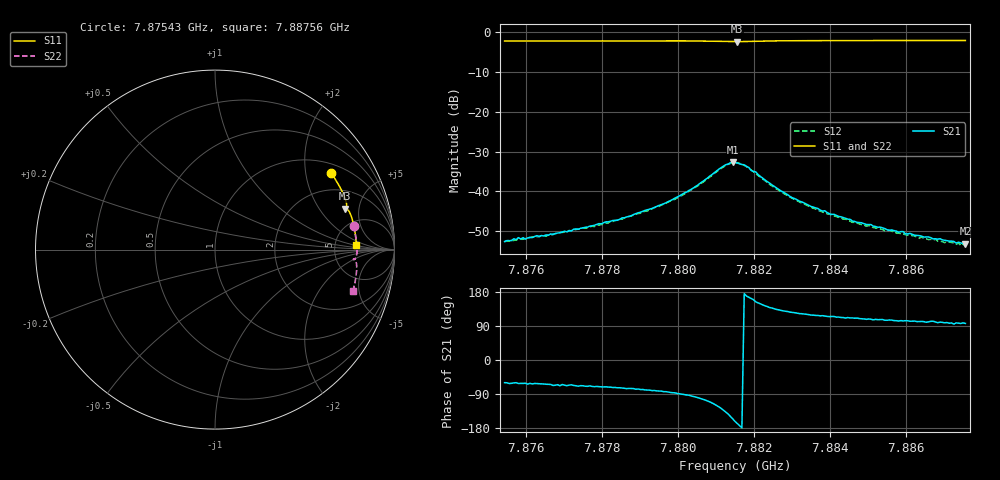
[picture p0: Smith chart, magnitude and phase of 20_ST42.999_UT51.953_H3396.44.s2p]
#  HZ  S  DB  R  50.00
! Rohde & Schwarz Vector Network Analyzer
! Rohde-Schwarz,ZNB20-2Port,1311601062101988,3.16
! Created: UTC 1/12/2023, 6:30:34 PM
! freq[Hz]  db:S11  ang:S11  db:S21  ang:S21  db:S12  ang:S12  db:S22  ang:S22
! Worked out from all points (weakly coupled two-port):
!   201 points, 7.87543 GHz to 7.88756 GHz, reference 50 ohm
!   highest |S21| = -32.66 dB at 7.88144 GHz (marker M1); lowest = -53.2 dB at 7.88756 GHz (marker M2)
!   lowest |S11| = -2.4 dB at 7.88156 GHz (marker M3), VSWR 7.37, Z = 166 + j179 ohm
!   |S11| at or under -10 dB: nowhere
!   |S22| runs from -2.2 to -1.9 dB; largest |S21 - S12| = 0.0015
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7.875431e9  -2.22 33.4  -52.61 -59.8  -52.70 -63.3  -2.12 9.5
7.875795e9  -2.21 32.4  -51.65 -62.0  -52.01 -65.5  -2.11 8.7
7.875977e9  -2.21 31.9  -52.03 -61.4  -51.86 -65.1  -2.10 8.2
7.876522e9  -2.20 30.4  -50.95 -64.0  -51.30 -67.5  -2.09 7.0
7.877493e9  -2.19 27.8  -49.20 -68.0  -49.17 -72.0  -2.07 4.7
7.878403e9  -2.18 25.2  -47.27 -73.3  -47.26 -76.5  -2.05 2.6
7.879494e9  -2.17 22.2  -43.55 -82.0  -43.79 -85.3  -2.04 0.0
7.880222e9  -2.18 20.2  -40.21 -92.3  -40.34 -95.4  -2.05 -1.8
7.881132e9  -2.31 17.6  -34.04 -127.8  -34.24 -131.1  -2.17 -4.0
7.881435e9  -2.37 17.4  -32.66 -155.2  -32.86 -157.8  -2.24 -4.1
7.881496e9  -2.37 17.4  -32.72 -162.1  -32.83 -163.8  -2.24 -4.1
7.881557e9  -2.37 17.4  -32.90 -167.6  -32.81 -170.2  -2.24 -4.0
7.882042e9  -2.25 16.8  -35.11 153.4  -35.54 151.2  -2.12 -4.3
7.882709e9  -2.16 14.9  -39.94 130.8  -40.15 127.7  -2.01 -5.9
7.883558e9  -2.12 12.5  -43.98 118.4  -44.27 115.6  -1.97 -8.0
7.884589e9  -2.10 9.7  -47.49 111.0  -47.81 107.3  -1.95 -10.3
7.88556e9  -2.09 7.1  -49.79 105.6  -49.80 102.3  -1.93 -12.4
7.886348e9  -2.08 5.0  -51.14 101.4  -51.75 99.8  -1.92 -14.2
7.887379e9  -2.08 2.3  -52.79 97.2  -53.03 95.3  -1.92 -16.4
7.88744e9  -2.08 2.2  -53.00 96.3  -53.60 94.6  -1.91 -16.5
7.887501e9  -2.07 2.0  -53.16 97.9  -53.23 94.3  -1.91 -16.7
7.887561e9  -2.07 1.9  -53.16 96.5  -53.79 94.4  -1.91 -16.7
